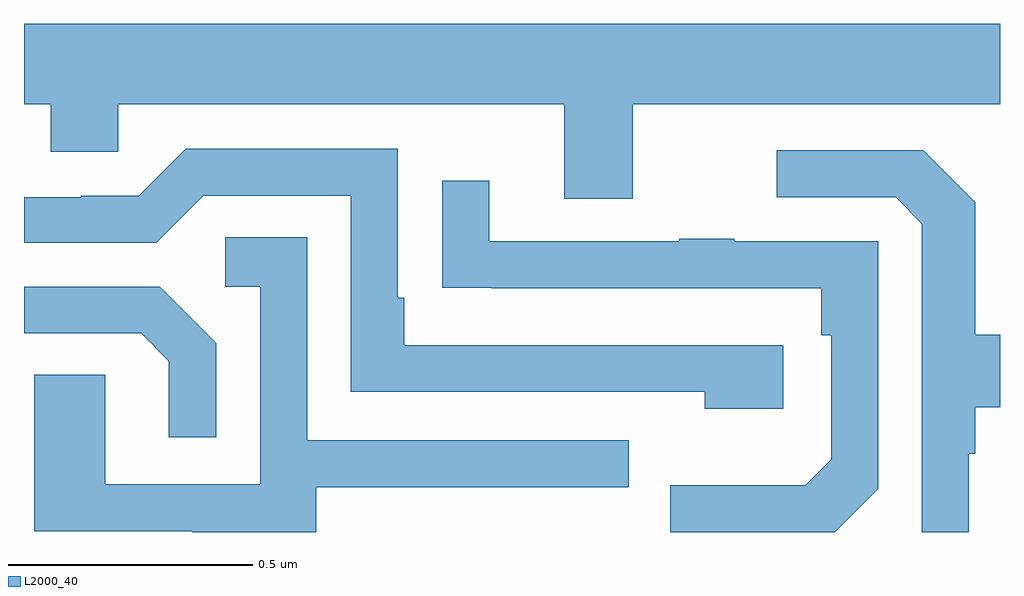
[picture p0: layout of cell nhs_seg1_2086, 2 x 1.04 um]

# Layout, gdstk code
import gdstk
lib = gdstk.Library(unit=1e-6, precision=1e-09)
def P(c, l, *ps):  # polygons
    for p in ps: c.add(gdstk.Polygon(p, *l))
L2000_40 = (2000, 40)

nhs_seg1_2086 = lib.new_cell('nhs_seg1_2086')
P(nhs_seg1_2086, L2000_40, [(138.247,541.076),(139,541.076),(139,541.24),(137,541.24),(137,541.076),(137.055,541.076),(137.055,540.978),(137.193,540.978),(137.193,541.076),(138.107,541.076),(138.107,540.882),(138.247,540.882)],
  [(138.556,540.582),(137.779,540.582),(137.779,540.679),(137.766,540.679),(137.766,540.984),(137.331,540.984),(137.235,540.888),(137.117,540.888),(137.117,540.885),(137.001,540.885),(137,540.886),(137,540.792),(137.271,540.792),(137.367,540.888),(137.67,540.888),(137.67,540.486),(138.395,540.486),(138.395,540.452),(138.556,540.452)],
  [(138.936,540.359),(138.949,540.359),(138.949,540.455),(139,540.455),(139,540.603),(138.949,540.603),(138.949,540.875),(138.843,540.981),(138.543,540.981),(138.543,540.885),(138.786,540.885),(138.84,540.831),(138.84,540.199),(138.936,540.199)],
  [(138.75,540.288),(138.75,540.795),(138.455,540.795),(138.455,540.8),(138.343,540.8),(138.343,540.795),(137.953,540.795),(137.953,540.919),(137.857,540.919),(137.857,540.7),(137.959,540.7),(137.959,540.699),(138.634,540.699),(138.634,540.602),(138.654,540.602),(138.654,540.348),(138.601,540.295),(138.324,540.295),(138.324,540.199),(138.661,540.199)],
  [(137.599,540.291),(138.239,540.291),(138.239,540.387),(137.58,540.387),(137.58,540.803),(137.412,540.803),(137.412,540.702),(137.484,540.702),(137.484,540.297),(137.166,540.297),(137.166,540.521),(137.021,540.521),(137.021,540.201),(137.345,540.201),(137.345,540.199),(137.599,540.199)],
  [(137.394,540.586),(137.278,540.702),(137,540.702),(137,540.606),(137.24,540.606),(137.297,540.549),(137.297,540.393),(137.394,540.393)])

lib.write_gds('nhs_seg1_2086.gds')
